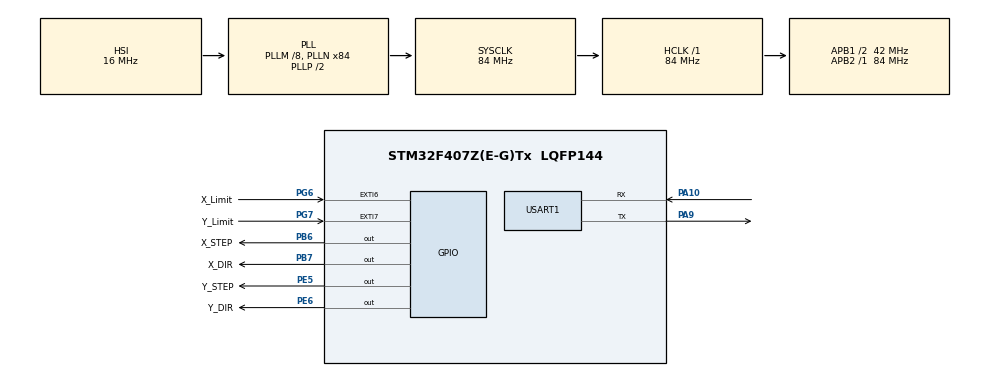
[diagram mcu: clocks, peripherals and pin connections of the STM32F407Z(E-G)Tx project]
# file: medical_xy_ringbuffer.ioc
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Mcu.Family=STM32F4
Mcu.Name=STM32F407Z(E-G)Tx
Mcu.Package=LQFP144
NVIC.EXTI9_5_IRQn=true\:1\:0\:true\:false\:true\:true\:true\:true
NVIC.PriorityGroup=NVIC_PRIORITYGROUP_4
NVIC.TIM3_IRQn=true\:0\:0\:false\:false\:true\:true\:true\:true
NVIC.USART1_IRQn=true\:1\:0\:true\:false\:true\:true\:true\:true
PA10.Mode=Asynchronous
PA10.Signal=USART1_RX
PA13.Mode=Serial_Wire
PA13.Signal=SYS_JTMS-SWDIO
PA14.Mode=Serial_Wire
PA14.Signal=SYS_JTCK-SWCLK
PA9.Mode=Asynchronous
PA9.Signal=USART1_TX
PB6.GPIO_Label=X_STEP
PB6.GPIO_Speed=GPIO_SPEED_FREQ_HIGH
PB6.Signal=GPIO_Output
PB7.GPIO_Label=X_DIR
PB7.GPIO_Speed=GPIO_SPEED_FREQ_HIGH
PB7.Signal=GPIO_Output
PE5.GPIO_Label=Y_STEP
PE5.GPIO_Speed=GPIO_SPEED_FREQ_HIGH
PE5.Signal=GPIO_Output
PE6.GPIO_Label=Y_DIR
PE6.GPIO_Speed=GPIO_SPEED_FREQ_HIGH
PE6.Signal=GPIO_Output
PG6.GPIO_Label=X_Limit
PG6.GPIO_ModeDefaultEXTI=GPIO_MODE_IT_RISING_FALLING
PG6.GPIO_PuPd=GPIO_PULLUP
PG6.Signal=GPXTI6
PG7.GPIO_Label=Y_Limit
PG7.GPIO_ModeDefaultEXTI=GPIO_MODE_IT_RISING_FALLING
PG7.GPIO_PuPd=GPIO_PULLUP
PG7.Signal=GPXTI7
PH0-OSC_IN.Mode=HSE-External-Oscillator
PH0-OSC_IN.Signal=RCC_OSC_IN
PH1-OSC_OUT.Mode=HSE-External-Oscillator
PH1-OSC_OUT.Signal=RCC_OSC_OUT
ProjectManager.HeapSize=0x200
ProjectManager.StackSize=0x400
ProjectManager.TargetToolchain=MDK-ARM V5.32
RCC.48MHZClocksFreq_Value=42000000
RCC.AHBFreq_Value=84000000
RCC.APB1CLKDivider=RCC_HCLK_DIV2
RCC.APB1Freq_Value=42000000
RCC.APB1TimFreq_Value=84000000
RCC.APB2Freq_Value=84000000
RCC.APB2TimFreq_Value=84000000
RCC.CortexFreq_Value=84000000
RCC.HCLKFreq_Value=84000000
RCC.HSE_VALUE=25000000
RCC.HSI_VALUE=16000000
RCC.LSE_VALUE=32768
RCC.PLLM=8
RCC.PLLN=84
RCC.SYSCLKFreq_VALUE=84000000
RCC.SYSCLKSource=RCC_SYSCLKSOURCE_PLLCLK
RCC.VCOOutputFreq_Value=168000000
TIM3.AutoReloadPreload=TIM_AUTORELOAD_PRELOAD_ENABLE
TIM3.Period=999
TIM3.Prescaler=83
USART1.VirtualMode=VM_ASYNC
VP_TIM3_VS_ClockSourceINT.Mode=Internal
board=custom

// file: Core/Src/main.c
/* USER CODE BEGIN Header */
/**
  ******************************************************************************
  * @file           : main.c
  * @brief          : Main program body
  ******************************************************************************
  * @attention
  *
  * Copyright (c) 2026 STMicroelectronics.
  * All rights reserved.
  *
  * This software is licensed under terms that can be found in the LICENSE file
  * in the root directory of this software component.
  * If no LICENSE file comes with this software, it is provided AS-IS.
  *
  ******************************************************************************
  */
/* USER CODE END Header */
#include "main.h"
#include "tim.h"
#include "usart.h"
#include "gpio.h"

/* USER CODE BEGIN Includes */
#include "motor_core.h"    // 补上这个，它就能认识 XY_Sys 和 MOTOR_IDLE 了
//#include "protocol.h"      // 如果 UART_SendString 在这里，也补上
#include <stdio.h>         // 如果你用了 sprintf，确保 stdio 也在这里
#include "homing_limit.h"
#include "string.h"
#include "uart_parser.h"
/* USER CODE END Includes */

/* USER CODE BEGIN PV */
// 真正分配 1 个字节的内存，用来接收串口发来的单个字符
uint8_t RX_Temp_Char = 0;

/* USER CODE END PV */

void SystemClock_Config(void);

int main(void)
{

  /* USER CODE BEGIN 1 */
   HAL_Init();
  SystemClock_Config();
  MX_GPIO_Init();
  MX_TIM3_Init();
  MX_USART1_UART_Init();
  /* USER CODE END 1 */

  /* MCU Configuration--------------------------------------------------------*/

  /* Reset of all peripherals, Initializes the Flash interface and the Systick. */
  HAL_Init();

  /* Configure the system clock */
  SystemClock_Config();

  /* Initialize all configured peripherals */
  MX_GPIO_Init();
  MX_TIM3_Init();
  MX_USART1_UART_Init();
  /* USER CODE BEGIN 2 */
  // 1. 数据结构初始化（防止 Head/Tail 上电是脏值）
  RingBuffer_Init(&CNC_Motion_Buffer);

  // 2. 启动 TIM3 定时器中断（步进引擎心跳）
  HAL_TIM_Base_Start_IT(&htim3);

  // 3. 启动 USART1 单字节接收中断（指令翻译官原料）
  HAL_UART_Receive_IT(&huart1, &RX_Temp_Char, 1);
//  CNC_State = SYS_READY;
  /* USER CODE END 2 */

  /* Infinite loop */
  /* USER CODE BEGIN WHILE */
  uint32_t last_print_time = 0; // 定义一个局部时间戳变量
  while (1)
  {
    /* USER CODE END WHILE */

    /* USER CODE BEGIN 3 */
   // 任务 1：语言翻译官疯狂轮询！(只要有完整指令，瞬间解析并生成订单)
    UART_Parse_Command();

    // 任务 2：仪表盘非阻塞式打印 (每 500 毫秒打印一次，绝对不卡死主循环！)
    if (HAL_GetTick() - last_print_time >= 500) {
        last_print_time = HAL_GetTick();
        CNC_Debug_Print();
    }

    /* USER CODE END WHILE */

      }
  /* USER CODE END 3 */
}

void SystemClock_Config(void)
{
  RCC_OscInitTypeDef RCC_OscInitStruct = {0};
  RCC_ClkInitTypeDef RCC_ClkInitStruct = {0};

  /** Configure the main internal regulator output voltage
  */
  __HAL_RCC_PWR_CLK_ENABLE();
  __HAL_PWR_VOLTAGESCALING_CONFIG(PWR_REGULATOR_VOLTAGE_SCALE1);

  /** Initializes the RCC Oscillators according to the specified parameters
  * in the RCC_OscInitTypeDef structure.
  */
  RCC_OscInitStruct.OscillatorType = RCC_OSCILLATORTYPE_HSI;
  RCC_OscInitStruct.HSIState = RCC_HSI_ON;
  RCC_OscInitStruct.HSICalibrationValue = RCC_HSICALIBRATION_DEFAULT;
  RCC_OscInitStruct.PLL.PLLState = RCC_PLL_ON;
  RCC_OscInitStruct.PLL.PLLSource = RCC_PLLSOURCE_HSI;
  RCC_OscInitStruct.PLL.PLLM = 8;
  RCC_OscInitStruct.PLL.PLLN = 84;
  RCC_OscInitStruct.PLL.PLLP = RCC_PLLP_DIV2;
  RCC_OscInitStruct.PLL.PLLQ = 4;
  if (HAL_RCC_OscConfig(&RCC_OscInitStruct) != HAL_OK)
  {
    Error_Handler();
  }

  /** Initializes the CPU, AHB and APB buses clocks
  */
  RCC_ClkInitStruct.ClockType = RCC_CLOCKTYPE_HCLK|RCC_CLOCKTYPE_SYSCLK
                              |RCC_CLOCKTYPE_PCLK1|RCC_CLOCKTYPE_PCLK2;
  RCC_ClkInitStruct.SYSCLKSource = RCC_SYSCLKSOURCE_PLLCLK;
  RCC_ClkInitStruct.AHBCLKDivider = RCC_SYSCLK_DIV1;
  RCC_ClkInitStruct.APB1CLKDivider = RCC_HCLK_DIV2;
  RCC_ClkInitStruct.APB2CLKDivider = RCC_HCLK_DIV1;

  if (HAL_RCC_ClockConfig(&RCC_ClkInitStruct, FLASH_LATENCY_2) != HAL_OK)
  {
    Error_Handler();
  }
}

void Error_Handler(void)
{
  __disable_irq();
  while (1)
  {
  }
}
